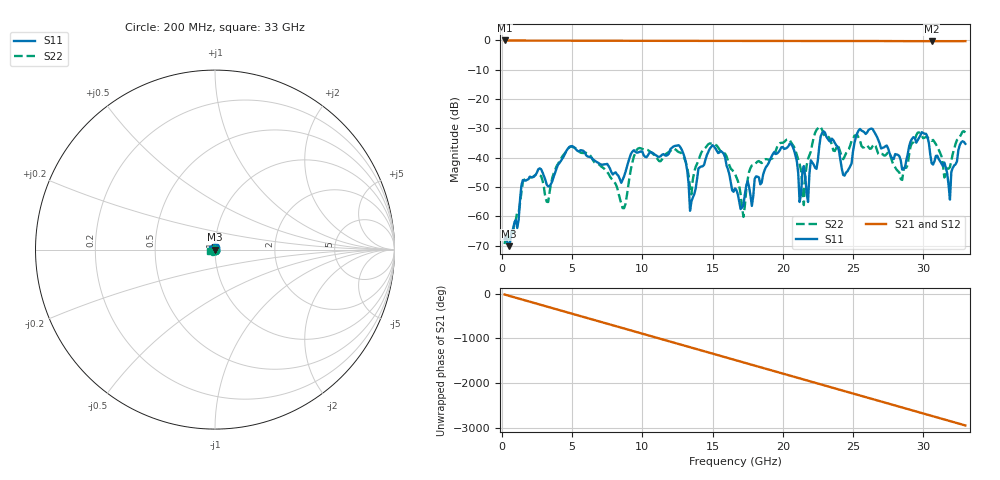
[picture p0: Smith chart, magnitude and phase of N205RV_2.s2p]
# GHZ S RI R 50
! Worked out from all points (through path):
!   329 points, 200 MHz to 33 GHz, reference 50 ohm
!   highest |S21| = -0.02 dB at 200 MHz (marker M1); lowest = -0.3 dB at 30.6 GHz (marker M2)
!   group delay of S21, straight-line fit = 248 ps
!   lowest |S11| = -70.2 dB at 500 MHz (marker M3), VSWR 1.00, Z = 50 + j0.0189 ohm
!   |S11| at or under -10 dB: start of sweep to end of sweep
!   |S22| runs from -69.4 to -29.4 dB; largest |S21 - S12| = 0.0019
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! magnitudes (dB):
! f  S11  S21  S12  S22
! 200 MHz  -67.8  0.0  0.0  -69.4
! 500 MHz  -70.2  0.0  0.0  -67.8
! 1.5 GHz  -47.6  -0.1  -0.1  -48.3
! 5.7 GHz  -37.5  -0.1  -0.1  -38.4
! 8.7 GHz  -46.4  -0.1  -0.1  -57.2
! 9.6 GHz  -38.3  -0.1  -0.1  -37.4
! 11.2 GHz  -39.7  -0.2  -0.2  -41.2
! 12.8 GHz  -37.2  -0.2  -0.2  -38.5
! 13.4 GHz  -58.1  -0.2  -0.2  -50.4
! 15 GHz  -35.7  -0.2  -0.2  -35.2
! 16.6 GHz  -50.5  -0.2  -0.2  -45.5
! 17.2 GHz  -56.2  -0.2  -0.2  -60.2
! 17.8 GHz  -56.4  -0.2  -0.2  -42.6
! 20.4 GHz  -36.1  -0.2  -0.2  -33.6
! 21.2 GHz  -55.1  -0.2  -0.2  -42.1
! 21.5 GHz  -42.8  -0.2  -0.2  -56.2
! 21.8 GHz  -55.1  -0.2  -0.2  -40.4
! 22.1 GHz  -41.6  -0.2  -0.2  -35.3
! 27.6 GHz  -38.4  -0.2  -0.2  -38.6
! 30.6 GHz  -41.9  -0.3  -0.3  -34.2
! 31.9 GHz  -54.3  -0.3  -0.3  -43.2
! 33 GHz  -35.3  -0.2  -0.2  -31.4
